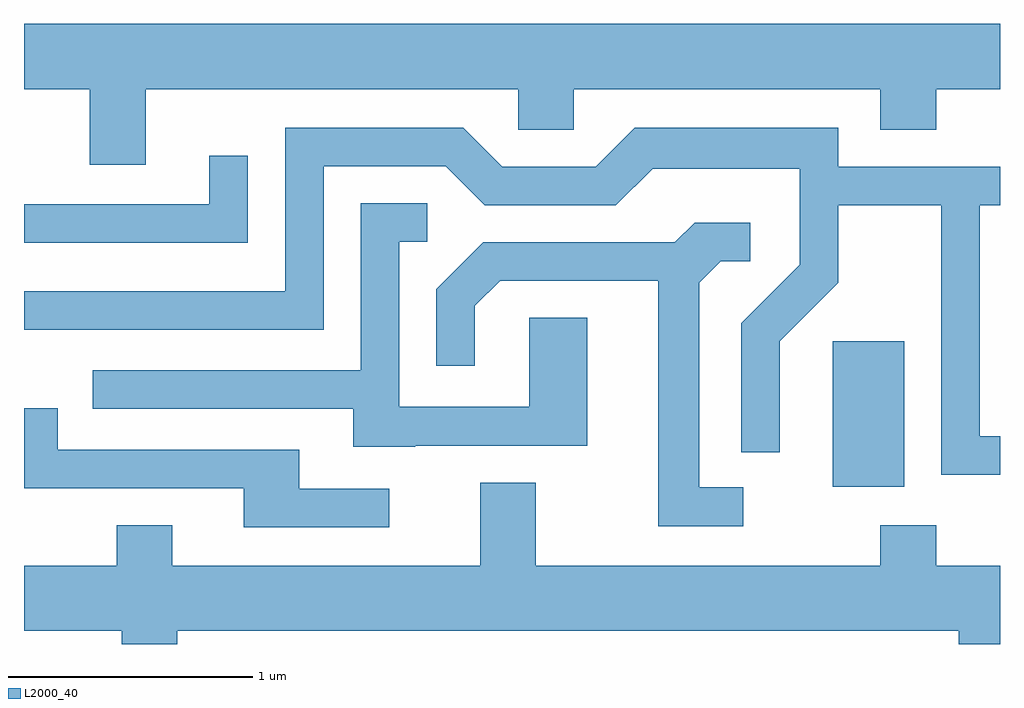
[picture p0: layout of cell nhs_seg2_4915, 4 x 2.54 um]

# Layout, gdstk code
import gdstk
lib = gdstk.Library(unit=1e-6, precision=1e-09)
def R(c, l, rs):  # rectangles x0, y0, x1, y1
    for r in rs: c.add(gdstk.rectangle(r[:2], r[2:], *l))
def P(c, l, *ps):  # polygons
    for p in ps: c.add(gdstk.Polygon(p, *l))
L2000_40 = (2000, 40)

nhs_seg2_4915 = lib.new_cell('nhs_seg2_4915')
R(nhs_seg2_4915, L2000_40, [(332.926,1064.446,333.219,1065.044)])
P(nhs_seg2_4915, L2000_40, [(330.109,1066.076),(331.636,1066.076),(331.636,1065.911),(331.864,1065.911),(331.864,1066.076),(333.121,1066.076),(333.121,1065.911),(333.349,1065.911),(333.349,1066.076),(333.611,1066.076),(333.611,1066.344),(329.611,1066.344),(329.611,1066.076),(329.881,1066.076),(329.881,1065.766),(330.109,1065.766)],
  [(333.611,1064.654),(333.529,1064.654),(333.529,1065.601),(333.611,1065.601),(333.611,1065.759),(332.949,1065.759),(332.949,1065.919),(332.114,1065.919),(331.954,1065.759),(331.572,1065.759),(331.412,1065.919),(330.681,1065.919),(330.681,1065.249),(329.611,1065.249),(329.611,1065.091),(330.839,1065.091),(330.839,1065.761),(331.339,1065.761),(331.499,1065.601),(332.037,1065.601),(332.187,1065.751),(332.791,1065.751),(332.791,1065.357),(332.551,1065.117),(332.551,1064.588),(332.709,1064.588),(332.709,1065.044),(332.949,1065.284),(332.949,1065.601),(333.371,1065.601),(333.371,1064.496),(333.611,1064.496)],
  [(330.529,1065.803),(330.371,1065.803),(330.371,1065.604),(329.611,1065.604),(329.611,1065.446),(330.529,1065.446)],
  [(331.215,1064.616),(331.919,1064.616),(331.919,1065.139),(331.681,1065.139),(331.681,1064.774),(331.149,1064.774),(331.149,1065.451),(331.263,1065.451),(331.263,1065.609),(330.991,1065.609),(330.991,1064.924),(329.893,1064.924),(329.893,1064.766),(330.961,1064.766),(330.961,1064.611),(331.215,1064.611)],
  [(332.558,1064.444),(332.379,1064.444),(332.379,1065.284),(332.467,1065.371),(332.588,1065.371),(332.588,1065.529),(332.359,1065.529),(332.279,1065.449),(331.494,1065.449),(331.301,1065.257),(331.301,1064.943),(331.459,1064.943),(331.459,1065.189),(331.562,1065.291),(332.211,1065.291),(332.211,1064.286),(332.558,1064.286)],
  [(331.108,1064.439),(330.739,1064.439),(330.739,1064.599),(329.749,1064.599),(329.749,1064.769),(329.611,1064.769),(329.611,1064.441),(330.511,1064.441),(330.511,1064.281),(331.108,1064.281)],
  [(330.239,1063.856),(333.441,1063.856),(333.441,1063.802),(333.611,1063.802),(333.611,1064.124),(333.349,1064.124),(333.349,1064.289),(333.121,1064.289),(333.121,1064.124),(331.709,1064.124),(331.709,1064.464),(331.481,1064.464),(331.481,1064.124),(330.219,1064.124),(330.219,1064.289),(329.991,1064.289),(329.991,1064.124),(329.611,1064.124),(329.611,1063.856),(330.011,1063.856),(330.011,1063.802),(330.239,1063.802)])

lib.write_gds('nhs_seg2_4915.gds')
